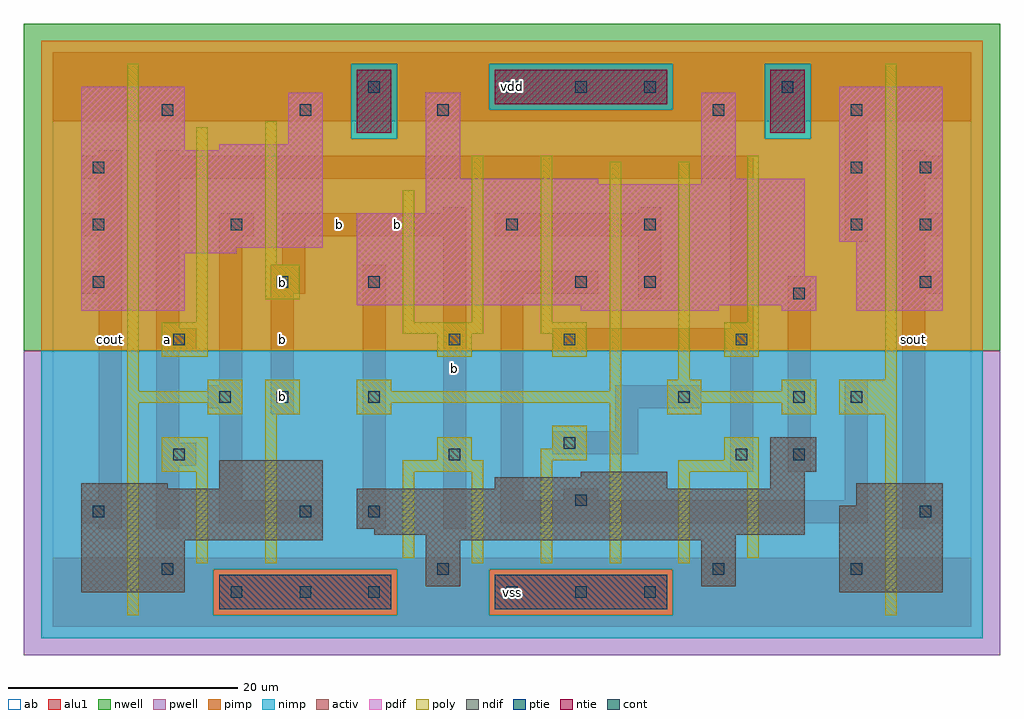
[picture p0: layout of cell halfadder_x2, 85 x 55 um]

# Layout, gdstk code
import gdstk
lib = gdstk.Library(unit=1e-6, precision=1e-09)
def R(c, l, rs):  # rectangles x0, y0, x1, y1
    for r in rs: c.add(gdstk.rectangle(r[:2], r[2:], *l))
def A(c, l, x, y, w, h, nx, ny, dx, dy):  # array of equal rectangles
    R(c, l, [(x+i*dx, y+j*dy, x+i*dx+w, y+j*dy+h) for i in range(nx) for j in range(ny)])
ndif = (3, 0)
pdif = (4, 0)
ntie = (5, 0)
ptie = (6, 0)
cont = (25, 0)
pwell = (41, 0)
nwell = (42, 0)
activ = (43, 0)
pimp = (44, 0)
nimp = (45, 0)
poly = (46, 0)
alu1 = (49, 0)
ab = (63, 0)

halfadder_x2 = lib.new_cell('halfadder_x2')
R(halfadder_x2, ndif, [(2.5,3,11.5,7.5), (68.5,3,77.5,10.5), (32.5,3.5,35.5,7.5), (56.5,3.5,59.5,7.5), (2.5,7.5,23.5,12), (32.5,7.5,59.5,8), (28,8,65.5,8.5), (26.5,8.5,65.5,12), (70,10.5,77.5,12.5), (2.5,12,10,12.5), (14.5,12,23.5,14.5), (38.5,12,53.5,13), (62.5,12,65.5,13.5), (46,13,53.5,13.5), (62.5,13.5,66.5,16.5)])
R(halfadder_x2, pdif, [(2.5,27.5,11.5,32.5), (46,27.5,58,28), (63.5,27.5,66.5,28), (70,27.5,77.5,33.5), (26.5,28,66.5,30.5), (26.5,30.5,65.5,36), (2.5,32.5,16,33), (2.5,33,23.5,41.5), (68.5,33.5,77.5,47), (32.5,36,65.5,38.5), (32.5,38.5,47.5,39), (56.5,38.5,65.5,39), (32.5,39,35.5,46.5), (56.5,39,59.5,46.5), (2.5,41.5,11.5,47), (14.5,41.5,23.5,42), (20.5,42,23.5,46.5)])
R(halfadder_x2, ntie, [(26.5,43,29.5,48.5), (62.5,43,65.5,48.5), (38.5,45.5,53.5,48.5)])
R(halfadder_x2, ptie, [(14.5,1.5,29.5,4.5), (38.5,1.5,53.5,4.5)])
A(halfadder_x2, cont, 15.5, 2.5, 1, 1, 3, 1, 6, 0)
A(halfadder_x2, cont, 39.5, 2.5, 1, 1, 3, 2, 6, 44)
A(halfadder_x2, cont, 9.5, 4.5, 1, 1, 3, 1, 24, 0)
A(halfadder_x2, cont, 69.5, 4.5, 1, 1, 1, 3, 0, 15)
A(halfadder_x2, cont, 27.5, 9.5, 1, 1, 1, 3, 0, 10)
A(halfadder_x2, cont, 3.5, 29.5, 1, 1, 1, 3, 0, 5)
A(halfadder_x2, cont, 75.5, 29.5, 1, 1, 1, 3, 0, 5)
A(halfadder_x2, cont, 9.5, 44.5, 1, 1, 3, 1, 12, 0)
R(halfadder_x2, cont, [(3.5,9.5,4.5,10.5), (21.5,9.5,22.5,10.5), (75.5,9.5,76.5,10.5), (45.5,10.5,46.5,11.5), (10.5,14.5,11.5,15.5), (34.5,14.5,35.5,15.5), (59.5,14.5,60.5,15.5), (64.5,14.5,65.5,15.5), (44.5,15.5,45.5,16.5), (14.5,19.5,15.5,20.5), (19.5,19.5,20.5,20.5), (54.5,19.5,55.5,20.5), (64.5,19.5,65.5,20.5), (10.5,24.5,11.5,25.5), (34.5,24.5,35.5,25.5), (44.5,24.5,45.5,25.5), (59.5,24.5,60.5,25.5), (64.5,28.5,65.5,29.5), (19.5,29.5,20.5,30.5), (45.5,29.5,46.5,30.5), (51.5,29.5,52.5,30.5), (15.5,34.5,16.5,35.5), (39.5,34.5,40.5,35.5), (51.5,34.5,52.5,35.5), (69.5,39.5,70.5,40.5), (57.5,44.5,58.5,45.5), (69.5,44.5,70.5,45.5), (27.5,46.5,28.5,47.5), (63.5,46.5,64.5,47.5)])
R(halfadder_x2, pwell, [(-2.5,-2.5,82.5,24)])
R(halfadder_x2, nwell, [(-2.5,24,82.5,52.5)])
R(halfadder_x2, activ, [(14.5,1.5,29.5,4.5), (38.5,1.5,53.5,4.5), (2.5,3,11.5,7.5), (68.5,3,77.5,10.5), (32.5,3.5,35.5,7.5), (56.5,3.5,59.5,7.5), (2.5,7.5,23.5,12), (32.5,7.5,59.5,8), (28,8,65.5,8.5), (26.5,8.5,65.5,12), (70,10.5,77.5,12.5), (2.5,12,10,12.5), (14.5,12,23.5,14.5), (38.5,12,53.5,13), (62.5,12,65.5,13.5), (46,13,53.5,13.5), (62.5,13.5,66.5,16.5), (2.5,27.5,11.5,32.5), (46,27.5,58,28), (63.5,27.5,66.5,28), (70,27.5,77.5,33.5), (26.5,28,66.5,30.5), (26.5,30.5,65.5,36), (2.5,32.5,16,33), (2.5,33,23.5,41.5), (68.5,33.5,77.5,47), (32.5,36,65.5,38.5), (32.5,38.5,47.5,39), (56.5,38.5,65.5,39), (32.5,39,35.5,46.5), (56.5,39,59.5,46.5), (2.5,41.5,11.5,47), (14.5,41.5,23.5,42), (20.5,42,23.5,46.5), (26.5,43,29.5,48.5), (62.5,43,65.5,48.5), (38.5,45.5,53.5,48.5)])
R(halfadder_x2, pimp, [(14,1,30,5), (38,1,54,5), (-1,24,81,42.5), (-1,42.5,26,49), (30,42.5,62,45), (66,42.5,81,49), (30,45,38,49), (54,45,62,49), (-1,49,81,51)])
R(halfadder_x2, nimp, [(-1,-1,81,1), (-1,1,14,5), (30,1,38,5), (54,1,81,5), (-1,5,81,24), (26,42.5,30,49), (62,42.5,66,49), (38,45,54,49)])
R(halfadder_x2, poly, [(6.5,1,7.5,19.5), (72.5,1,73.5,18.5), (12.5,5.5,13.5,13.5), (18.5,5.5,19.5,18.5), (36.5,5.5,37.5,13.5), (42.5,5.5,43.5,14.5), (48.5,5.5,49.5,19.5), (54.5,5.5,55.5,13.5), (30.5,6,31.5,13.5), (60.5,6,61.5,13.5), (9.5,13.5,13.5,16.5), (30.5,13.5,37.5,14.5), (54.5,13.5,61.5,14.5), (33.5,14.5,36.5,16.5), (42.5,14.5,46.5,15.5), (58.5,14.5,61.5,16.5), (43.5,15.5,46.5,17.5), (13.5,18.5,16.5,19.5), (18.5,18.5,21.5,21.5), (26.5,18.5,29.5,19.5), (53.5,18.5,56.5,19.5), (63.5,18.5,66.5,19.5), (68.5,18.5,73.5,21.5), (6.5,19.5,16.5,20.5), (26.5,19.5,49.5,20.5), (53.5,19.5,66.5,20.5), (6.5,20.5,7.5,49), (13.5,20.5,16.5,21.5), (26.5,20.5,29.5,21.5), (48.5,20.5,49.5,40.5), (53.5,20.5,56.5,21.5), (63.5,20.5,66.5,21.5), (54.5,21.5,55.5,40.5), (72.5,21.5,73.5,49), (9.5,23.5,13.5,26.5), (33.5,23.5,36.5,25.5), (43.5,23.5,46.5,25.5), (58.5,23.5,61.5,26.5), (30.5,25.5,37.5,26.5), (42.5,25.5,46.5,26.5), (12.5,26.5,13.5,43.5), (30.5,26.5,31.5,38), (36.5,26.5,37.5,41), (42.5,26.5,43.5,41), (60.5,26.5,61.5,41), (18.5,28.5,21.5,31.5), (18.5,31.5,19.5,44)])
R(halfadder_x2, alu1, [(0,0,80,6), (0,0,80,6), (4,8.5,6,9), (4,8.5,6,9), (9,8.5,11,14), (9,8.5,11,14), (27,8.5,29,31.5), (27,8.5,29,31.5), (34,8.5,36,34), (34,8.5,36,34), (74,8.5,76,9), (74,8.5,76,9), (2.5,9,6,11), (2.5,9,6,11), (14.5,9,23.5,11), (14.5,9,23.5,11), (39,9,71,11), (39,9,71,11), (74,9,77.5,11), (74,9,77.5,11), (4,11,6,29), (4,11,6,29), (14.5,11,16.5,19), (14.5,11,16.5,19), (39,11,41,29), (39,11,41,29), (44.5,11,47.5,12), (44.5,11,47.5,12), (69,11,71,21.5), (69,11,71,21.5), (74,11,76,29), (74,11,76,29), (59,13.5,61,24), (59,13.5,61,24), (64,13.5,66,30.5), (64,13.5,66,30.5), (9,14,12.5,16), (9,14,12.5,16), (43.5,15,51,17), (43.5,15,51,17), (9,16,11,24), (9,16,11,24), (49,17,51,19), (49,17,51,19), (19,18.5,21,29), (19,18.5,21,29), (13.5,19,16.5,21), (13.5,19,16.5,21), (49,19,56.5,21), (49,19,56.5,21), (14.5,21,16.5,34), (14.5,21,16.5,34), (9,24,12.5,26), (9,24,12.5,26), (43.5,24,61,26), (43.5,24,61,26), (9,26,11,39), (9,26,11,39), (59,26,61,39), (59,26,61,39), (51,28.5,53,34), (51,28.5,53,34), (2.5,29,6,31), (2.5,29,6,31), (19,29,22,31.5), (19,29,22,31.5), (39,29,47.5,31), (39,29,47.5,31), (74,29,77.5,31), (74,29,77.5,31), (4,31,6,34), (4,31,6,34), (74,31,76,34), (74,31,76,34), (20,31.5,22,34), (20,31.5,22,34), (69,33.5,71,44), (69,33.5,71,44), (2.5,34,6,36), (2.5,34,6,36), (14.5,34,17.5,36), (14.5,34,17.5,36), (20,34,36,36), (20,34,36,36), (38.5,34,53,36), (38.5,34,53,36), (74,34,77.5,36), (74,34,77.5,36), (4,36,6,39), (4,36,6,39), (34,36,36,36.5), (34,36,36,36.5), (51,36,53,36.5), (51,36,53,36.5), (74,36,76,39), (74,36,76,39), (2.5,39,6,41), (2.5,39,6,41), (9,39,61,41), (9,39,61,41), (74,39,77.5,41), (74,39,77.5,41), (4,41,6,41.5), (4,41,6,41.5), (9,41,11,41.5), (9,41,11,41.5), (74,41,76,41.5), (74,41,76,41.5), (0,44,80,50), (0,44,80,50)])
R(halfadder_x2, ab, [(0,0,80,50)])
halfadder_x2.add(gdstk.Label('cout', (5,25), layer=49, texttype=0))
halfadder_x2.add(gdstk.Label('a', (10,25), layer=49, texttype=0))
halfadder_x2.add(gdstk.Label('b', (20,20), layer=49, texttype=0))
halfadder_x2.add(gdstk.Label('b', (35,22.5), layer=49, texttype=0))
halfadder_x2.add(gdstk.Label('b', (20,25), layer=49, texttype=0))
halfadder_x2.add(gdstk.Label('b', (20,30), layer=49, texttype=0))
halfadder_x2.add(gdstk.Label('b', (25,35), layer=49, texttype=0))
halfadder_x2.add(gdstk.Label('b', (30,35), layer=49, texttype=0))
halfadder_x2.add(gdstk.Label('vss', (40,3), layer=49, texttype=0))
halfadder_x2.add(gdstk.Label('vdd', (40,47), layer=49, texttype=0))
halfadder_x2.add(gdstk.Label('sout', (75,25), layer=49, texttype=0))

lib.write_gds('halfadder_x2.gds')
